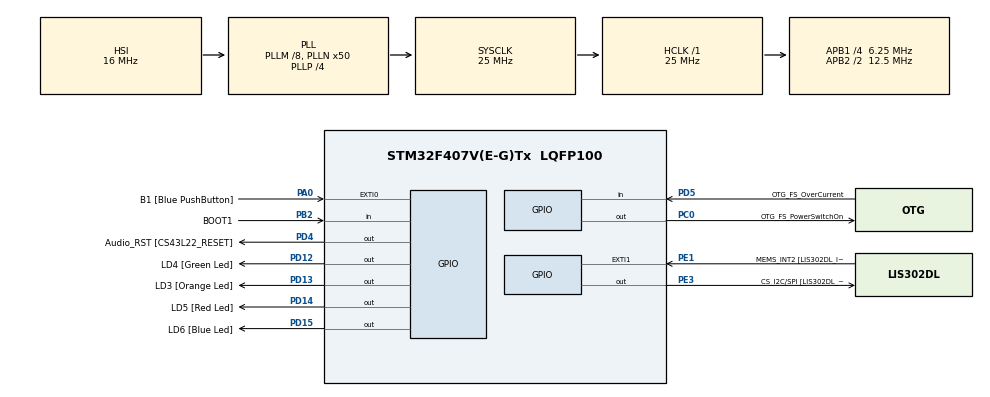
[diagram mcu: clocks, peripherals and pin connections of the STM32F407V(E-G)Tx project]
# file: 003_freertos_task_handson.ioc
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Mcu.Family=STM32F4
Mcu.Name=STM32F407V(E-G)Tx
Mcu.Package=LQFP100
NVIC.PriorityGroup=NVIC_PRIORITYGROUP_4
NVIC.TIM6_DAC_IRQn=true\:0\:0\:false\:false\:true\:false\:true\:true
NVIC.TimeBase=TIM6_DAC_IRQn
NVIC.TimeBaseIP=TIM6
PA0-WKUP.GPIO_Label=B1 [Blue PushButton]
PA0-WKUP.Signal=GPXTI0
PA10.GPIO_Label=OTG_FS_ID
PA10.GPIO_Mode=GPIO_MODE_AF_PP
PA10.GPIO_PuPd=GPIO_NOPULL
PA10.GPIO_Speed=GPIO_SPEED_FREQ_LOW
PA10.Signal=USB_OTG_FS_ID
PA11.GPIO_Label=OTG_FS_DM
PA11.GPIO_Mode=GPIO_MODE_AF_PP
PA11.GPIO_PuPd=GPIO_NOPULL
PA11.GPIO_Speed=GPIO_SPEED_FREQ_LOW
PA11.Signal=USB_OTG_FS_DM
PA12.GPIO_Label=OTG_FS_DP
PA12.GPIO_Mode=GPIO_MODE_AF_PP
PA12.GPIO_PuPd=GPIO_NOPULL
PA12.GPIO_Speed=GPIO_SPEED_FREQ_LOW
PA12.Signal=USB_OTG_FS_DP
PA13.GPIO_Label=SWDIO
PA13.Signal=SYS_JTMS-SWDIO
PA14.GPIO_Label=SWCLK
PA14.Signal=SYS_JTCK-SWCLK
PA4.GPIO_Label=I2S3_WS [CS43L22_LRCK]
PA4.GPIO_Mode=GPIO_MODE_AF_PP
PA4.GPIO_PuPd=GPIO_NOPULL
PA4.GPIO_Speed=GPIO_SPEED_FREQ_LOW
PA4.Signal=I2S3_WS
PA5.GPIO_Label=SPI1_SCK [LIS302DL_SCL/SPC]
PA5.GPIO_Mode=GPIO_MODE_AF_PP
PA5.GPIO_PuPd=GPIO_NOPULL
PA5.GPIO_Speed=GPIO_SPEED_FREQ_LOW
PA5.Signal=SPI1_SCK
PA6.GPIO_Label=SPI1_MISO [LIS302DL_SDO]
PA6.GPIO_Mode=GPIO_MODE_AF_PP
PA6.GPIO_PuPd=GPIO_NOPULL
PA6.GPIO_Speed=GPIO_SPEED_FREQ_LOW
PA6.Signal=SPI1_MISO
PA7.GPIO_Label=SPI1_MOSI [LIS302DL_SDA/SDI/SDO]
PA7.GPIO_Mode=GPIO_MODE_AF_PP
PA7.GPIO_PuPd=GPIO_NOPULL
PA7.GPIO_Speed=GPIO_SPEED_FREQ_LOW
PA7.Signal=SPI1_MOSI
PA9.GPIO_Label=VBUS_FS
PA9.GPIO_Mode=GPIO_MODE_INPUT
PA9.GPIO_PuPd=GPIO_NOPULL
PA9.Signal=USB_OTG_FS_VBUS
PB10.GPIO_Label=CLK_IN [MP45DT02_CLK]
PB10.GPIO_Mode=GPIO_MODE_AF_PP
PB10.GPIO_PuPd=GPIO_NOPULL
PB10.GPIO_Speed=GPIO_SPEED_FREQ_LOW
PB10.Signal=I2S2_CK
PB2.GPIO_Label=BOOT1
PB2.GPIO_Mode=GPIO_MODE_INPUT
PB2.GPIO_PuPd=GPIO_NOPULL
PB2.Signal=GPIO_Input
PB3.GPIO_Label=SWO
PB3.Signal=SYS_JTDO-SWO
PB6.GPIO_Label=Audio_SCL [CS43L22_SCL]
PB6.GPIO_Mode=GPIO_MODE_AF_OD
PB6.GPIO_PuPd=GPIO_NOPULL
PB6.GPIO_Speed=GPIO_SPEED_FREQ_LOW
PB6.Signal=I2C1_SCL
PB9.GPIO_Label=Audio_SDA [CS43L22_SDA]
PB9.GPIO_Mode=GPIO_MODE_AF_OD
PB9.GPIO_PuPd=GPIO_NOPULL
PB9.GPIO_Speed=GPIO_SPEED_FREQ_LOW
PB9.Signal=I2C1_SDA
PC0.GPIO_Label=OTG_FS_PowerSwitchOn
PC0.GPIO_PuPd=GPIO_NOPULL
PC0.GPIO_Speed=GPIO_SPEED_FREQ_LOW
PC0.PinState=GPIO_PIN_SET
PC0.Signal=GPIO_Output
PC10.GPIO_Label=I2S3_SCK [CS43L22_SCLK]
PC10.GPIO_Mode=GPIO_MODE_AF_PP
PC10.GPIO_PuPd=GPIO_NOPULL
PC10.GPIO_Speed=GPIO_SPEED_FREQ_LOW
PC10.Signal=I2S3_CK
PC12.GPIO_Label=I2S3_SD [CS43L22_SDIN]
PC12.GPIO_Mode=GPIO_MODE_AF_PP
PC12.GPIO_PuPd=GPIO_NOPULL
PC12.GPIO_Speed=GPIO_SPEED_FREQ_LOW
PC12.Signal=I2S3_SD
PC14-OSC32_IN.GPIO_Label=PC14-OSC32_IN
PC14-OSC32_IN.Signal=RCC_OSC32_IN
PC15-OSC32_OUT.GPIO_Label=PC15-OSC32_OUT
PC15-OSC32_OUT.Signal=RCC_OSC32_OUT
PC3.GPIO_Label=PDM_OUT [MP45DT02_DOUT]
PC3.GPIO_Mode=GPIO_MODE_AF_PP
PC3.GPIO_PuPd=GPIO_NOPULL
PC3.GPIO_Speed=GPIO_SPEED_FREQ_LOW
PC3.Signal=I2S2_SD
PC7.GPIO_Label=I2S3_MCK [CS43L22_MCLK]
PC7.GPIO_Mode=GPIO_MODE_AF_PP
PC7.GPIO_PuPd=GPIO_NOPULL
PC7.GPIO_Speed=GPIO_SPEED_FREQ_LOW
PC7.Signal=I2S3_MCK
PD12.GPIO_Label=LD4 [Green Led]
PD12.GPIO_PuPd=GPIO_NOPULL
PD12.GPIO_Speed=GPIO_SPEED_FREQ_LOW
PD12.Signal=GPIO_Output
PD13.GPIO_Label=LD3 [Orange Led]
PD13.GPIO_PuPd=GPIO_NOPULL
PD13.GPIO_Speed=GPIO_SPEED_FREQ_LOW
PD13.Signal=GPIO_Output
PD14.GPIO_Label=LD5 [Red Led]
PD14.GPIO_PuPd=GPIO_NOPULL
PD14.GPIO_Speed=GPIO_SPEED_FREQ_LOW
PD14.Signal=GPIO_Output
PD15.GPIO_Label=LD6 [Blue Led]
PD15.GPIO_PuPd=GPIO_NOPULL
PD15.GPIO_Speed=GPIO_SPEED_FREQ_LOW
PD15.Signal=GPIO_Output
PD4.GPIO_Label=Audio_RST [CS43L22_RESET]
PD4.GPIO_PuPd=GPIO_NOPULL
PD4.GPIO_Speed=GPIO_SPEED_FREQ_LOW
PD4.Signal=GPIO_Output
PD5.GPIO_Label=OTG_FS_OverCurrent
PD5.GPIO_Mode=GPIO_MODE_INPUT
PD5.GPIO_PuPd=GPIO_NOPULL
PD5.Signal=GPIO_Input
PE1.GPIO_Label=MEMS_INT2 [LIS302DL_INT2]
PE1.GPIO_ModeDefaultEXTI=GPIO_MODE_EVT_RISING
PE1.GPIO_PuPd=GPIO_NOPULL
PE1.Signal=GPXTI1
PE3.GPIO_Label=CS_I2C/SPI [LIS302DL_CS_I2C/SPI]
PE3.GPIO_PuPd=GPIO_NOPULL
PE3.GPIO_Speed=GPIO_SPEED_FREQ_LOW
PE3.Signal=GPIO_Output
PH0-OSC_IN.GPIO_Label=PH0-OSC_IN
PH0-OSC_IN.Signal=RCC_OSC_IN
PH1-OSC_OUT.GPIO_Label=PH1-OSC_OUT
PH1-OSC_OUT.Signal=RCC_OSC_OUT
ProjectManager.HeapSize=0x200
ProjectManager.StackSize=0x400
ProjectManager.TargetToolchain=STM32CubeIDE
RCC.48MHZClocksFreq_Value=14285714.285714285
RCC.AHBFreq_Value=25000000
RCC.APB1CLKDivider=RCC_HCLK_DIV4
RCC.APB1Freq_Value=6250000
RCC.APB1TimFreq_Value=12500000
RCC.APB2CLKDivider=RCC_HCLK_DIV2
RCC.APB2Freq_Value=12500000
RCC.APB2TimFreq_Value=25000000
RCC.CortexFreq_Value=25000000
RCC.HCLKFreq_Value=25000000
RCC.HSE_VALUE=8000000
RCC.HSI_VALUE=16000000
RCC.LSE_VALUE=32768
RCC.PLLM=8
RCC.PLLN=50
RCC.PLLP=RCC_PLLP_DIV4
RCC.PLLQ=7
RCC.SYSCLKFreq_VALUE=25000000
RCC.SYSCLKSource=RCC_SYSCLKSOURCE_PLLCLK
RCC.VCOOutputFreq_Value=100000000
VP_SYS_VS_tim6.Mode=TIM6
board=STM32F407G-DISC1

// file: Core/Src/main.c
/* USER CODE BEGIN Header */
/**
  ******************************************************************************
  * @file           : main.c
  * @brief          : Main program body
  ******************************************************************************
  * @attention
  *
  * Copyright (c) 2026 STMicroelectronics.
  * All rights reserved.
  *
  * This software is licensed under terms that can be found in the LICENSE file
  * in the root directory of this software component.
  * If no LICENSE file comes with this software, it is provided AS-IS.
  *
  ******************************************************************************
  */
/* USER CODE END Header */
#include "main.h"

/* USER CODE BEGIN Includes */

#include "FreeRTOS.h"
#include "task.h"

/* USER CODE END Includes */

void SystemClock_Config(void);
static void MX_GPIO_Init(void);

/* USER CODE BEGIN PFP */
void GreenTask(void *parameter);
void OrangeTask(void *parameter);
void RedTask(void *parameter);
void BlueTask(void *parameter);

/* USER CODE END PFP */

int main(void)
{

  /* USER CODE BEGIN 1 */

	BaseType_t status;
	TaskHandle_t  greenTaskHandler;
	TaskHandle_t  orangeTaskHandler;
	TaskHandle_t  redTaskHandler;
	TaskHandle_t  blueTaskHandler;

  /* USER CODE END 1 */

  /* MCU Configuration--------------------------------------------------------*/

  /* Reset of all peripherals, Initializes the Flash interface and the Systick. */
  HAL_Init();

  /* Configure the system clock */
  SystemClock_Config();

  /* Initialize all configured peripherals */
  MX_GPIO_Init();
  /* USER CODE BEGIN 2 */
  /*
   *     BaseType_t xTaskCreate( TaskFunction_t pxTaskCode,
                            const char * const pcName,
                            const configSTACK_DEPTH_TYPE uxStackDepth,
                            void * const pvParameters,
                            UBaseType_t uxPriority,
                            TaskHandle_t * const pxCreatedTask ) PRIVILEGED_FUNCTION;
   */

  status = xTaskCreate(GreenTask, "Green Led Task", 512, "Green LED Task", 2, &greenTaskHandler);

  configASSERT(status == pdPASS);

  status = xTaskCreate(OrangeTask, "Orange Led Task", 512, "Orange Led Task", 2, &orangeTaskHandler);

  configASSERT(status == pdPASS);

  status = xTaskCreate(RedTask, "Red Led Task", 512, "Red Led Task", 2, &redTaskHandler);

  configASSERT(status == pdPASS);

  status = xTaskCreate(BlueTask, "Blue Led Task", 512, "Blue Led Task", 2, &blueTaskHandler);

  configASSERT(status == pdPASS);

  vTaskStartScheduler();

  /* USER CODE END 2 */

  /* Infinite loop */
  while (1)
  {

  }
}

void SystemClock_Config(void)
{
  RCC_OscInitTypeDef RCC_OscInitStruct = {0};
  RCC_ClkInitTypeDef RCC_ClkInitStruct = {0};

  /** Configure the main internal regulator output voltage
  */
  __HAL_RCC_PWR_CLK_ENABLE();
  __HAL_PWR_VOLTAGESCALING_CONFIG(PWR_REGULATOR_VOLTAGE_SCALE1);

  /** Initializes the RCC Oscillators according to the specified parameters
  * in the RCC_OscInitTypeDef structure.
  */
  RCC_OscInitStruct.OscillatorType = RCC_OSCILLATORTYPE_HSI;
  RCC_OscInitStruct.HSIState = RCC_HSI_ON;
  RCC_OscInitStruct.HSICalibrationValue = RCC_HSICALIBRATION_DEFAULT;
  RCC_OscInitStruct.PLL.PLLState = RCC_PLL_ON;
  RCC_OscInitStruct.PLL.PLLSource = RCC_PLLSOURCE_HSI;
  RCC_OscInitStruct.PLL.PLLM = 8;
  RCC_OscInitStruct.PLL.PLLN = 50;
  RCC_OscInitStruct.PLL.PLLP = RCC_PLLP_DIV4;
  RCC_OscInitStruct.PLL.PLLQ = 7;
  if (HAL_RCC_OscConfig(&RCC_OscInitStruct) != HAL_OK)
  {
    Error_Handler();
  }

  /** Initializes the CPU, AHB and APB buses clocks
  */
  RCC_ClkInitStruct.ClockType = RCC_CLOCKTYPE_HCLK|RCC_CLOCKTYPE_SYSCLK
                              |RCC_CLOCKTYPE_PCLK1|RCC_CLOCKTYPE_PCLK2;
  RCC_ClkInitStruct.SYSCLKSource = RCC_SYSCLKSOURCE_PLLCLK;
  RCC_ClkInitStruct.AHBCLKDivider = RCC_SYSCLK_DIV1;
  RCC_ClkInitStruct.APB1CLKDivider = RCC_HCLK_DIV4;
  RCC_ClkInitStruct.APB2CLKDivider = RCC_HCLK_DIV2;

  if (HAL_RCC_ClockConfig(&RCC_ClkInitStruct, FLASH_LATENCY_0) != HAL_OK)
  {
    Error_Handler();
  }
}

static void MX_GPIO_Init(void)
{
  GPIO_InitTypeDef GPIO_InitStruct = {0};

  /* GPIO Ports Clock Enable */
  __HAL_RCC_GPIOE_CLK_ENABLE();
  __HAL_RCC_GPIOC_CLK_ENABLE();
  __HAL_RCC_GPIOH_CLK_ENABLE();
  __HAL_RCC_GPIOA_CLK_ENABLE();
  __HAL_RCC_GPIOB_CLK_ENABLE();
  __HAL_RCC_GPIOD_CLK_ENABLE();

  /*Configure GPIO pin Output Level */
  HAL_GPIO_WritePin(CS_I2C_SPI_GPIO_Port, CS_I2C_SPI_Pin, GPIO_PIN_RESET);

  /*Configure GPIO pin Output Level */
  HAL_GPIO_WritePin(OTG_FS_PowerSwitchOn_GPIO_Port, OTG_FS_PowerSwitchOn_Pin, GPIO_PIN_SET);

  /*Configure GPIO pin Output Level */
  HAL_GPIO_WritePin(GPIOD, LD4_Pin|LD3_Pin|LD5_Pin|LD6_Pin
                          |Audio_RST_Pin, GPIO_PIN_RESET);

  /*Configure GPIO pin : CS_I2C_SPI_Pin */
  GPIO_InitStruct.Pin = CS_I2C_SPI_Pin;
  GPIO_InitStruct.Mode = GPIO_MODE_OUTPUT_PP;
  GPIO_InitStruct.Pull = GPIO_NOPULL;
  GPIO_InitStruct.Speed = GPIO_SPEED_FREQ_LOW;
  HAL_GPIO_Init(CS_I2C_SPI_GPIO_Port, &GPIO_InitStruct);

  /*Configure GPIO pin : OTG_FS_PowerSwitchOn_Pin */
  GPIO_InitStruct.Pin = OTG_FS_PowerSwitchOn_Pin;
  GPIO_InitStruct.Mode = GPIO_MODE_OUTPUT_PP;
  GPIO_InitStruct.Pull = GPIO_NOPULL;
  GPIO_InitStruct.Speed = GPIO_SPEED_FREQ_LOW;
  HAL_GPIO_Init(OTG_FS_PowerSwitchOn_GPIO_Port, &GPIO_InitStruct);

  /*Configure GPIO pin : PDM_OUT_Pin */
  GPIO_InitStruct.Pin = PDM_OUT_Pin;
  GPIO_InitStruct.Mode = GPIO_MODE_AF_PP;
  GPIO_InitStruct.Pull = GPIO_NOPULL;
  GPIO_InitStruct.Speed = GPIO_SPEED_FREQ_LOW;
  GPIO_InitStruct.Alternate = GPIO_AF5_SPI2;
  HAL_GPIO_Init(PDM_OUT_GPIO_Port, &GPIO_InitStruct);

  /*Configure GPIO pin : B1_Pin */
  GPIO_InitStruct.Pin = B1_Pin;
  GPIO_InitStruct.Mode = GPIO_MODE_IT_RISING;
  GPIO_InitStruct.Pull = GPIO_NOPULL;
  HAL_GPIO_Init(B1_GPIO_Port, &GPIO_InitStruct);

  /*Configure GPIO pin : I2S3_WS_Pin */
  GPIO_InitStruct.Pin = I2S3_WS_Pin;
  GPIO_InitStruct.Mode = GPIO_MODE_AF_PP;
  GPIO_InitStruct.Pull = GPIO_NOPULL;
  GPIO_InitStruct.Speed = GPIO_SPEED_FREQ_LOW;
  GPIO_InitStruct.Alternate = GPIO_AF6_SPI3;
  HAL_GPIO_Init(I2S3_WS_GPIO_Port, &GPIO_InitStruct);

  /*Configure GPIO pins : SPI1_SCK_Pin SPI1_MISO_Pin SPI1_MOSI_Pin */
  GPIO_InitStruct.Pin = SPI1_SCK_Pin|SPI1_MISO_Pin|SPI1_MOSI_Pin;
  GPIO_InitStruct.Mode = GPIO_MODE_AF_PP;
  GPIO_InitStruct.Pull = GPIO_NOPULL;
  GPIO_InitStruct.Speed = GPIO_SPEED_FREQ_LOW;
  GPIO_InitStruct.Alternate = GPIO_AF5_SPI1;
  HAL_GPIO_Init(GPIOA, &GPIO_InitStruct);

  /*Configure GPIO pin : BOOT1_Pin */
  GPIO_InitStruct.Pin = BOOT1_Pin;
  GPIO_InitStruct.Mode = GPIO_MODE_INPUT;
  GPIO_InitStruct.Pull = GPIO_NOPULL;
  HAL_GPIO_Init(BOOT1_GPIO_Port, &GPIO_InitStruct);

  /*Configure GPIO pin : CLK_IN_Pin */
  GPIO_InitStruct.Pin = CLK_IN_Pin;
  GPIO_InitStruct.Mode = GPIO_MODE_AF_PP;
  GPIO_InitStruct.Pull = GPIO_NOPULL;
  GPIO_InitStruct.Speed = GPIO_SPEED_FREQ_LOW;
  GPIO_InitStruct.Alternate = GPIO_AF5_SPI2;
  HAL_GPIO_Init(CLK_IN_GPIO_Port, &GPIO_InitStruct);

  /*Configure GPIO pins : LD4_Pin LD3_Pin LD5_Pin LD6_Pin
                           Audio_RST_Pin */
  GPIO_InitStruct.Pin = LD4_Pin|LD3_Pin|LD5_Pin|LD6_Pin
                          |Audio_RST_Pin;
  GPIO_InitStruct.Mode = GPIO_MODE_OUTPUT_PP;
  GPIO_InitStruct.Pull = GPIO_NOPULL;
  GPIO_InitStruct.Speed = GPIO_SPEED_FREQ_LOW;
  HAL_GPIO_Init(GPIOD, &GPIO_InitStruct);

  /*Configure GPIO pins : I2S3_MCK_Pin I2S3_SCK_Pin I2S3_SD_Pin */
  GPIO_InitStruct.Pin = I2S3_MCK_Pin|I2S3_SCK_Pin|I2S3_SD_Pin;
  GPIO_InitStruct.Mode = GPIO_MODE_AF_PP;
  GPIO_InitStruct.Pull = GPIO_NOPULL;
  GPIO_InitStruct.Speed = GPIO_SPEED_FREQ_LOW;
  GPIO_InitStruct.Alternate = GPIO_AF6_SPI3;
  HAL_GPIO_Init(GPIOC, &GPIO_InitStruct);

  /*Configure GPIO pin : VBUS_FS_Pin */
  GPIO_InitStruct.Pin = VBUS_FS_Pin;
  GPIO_InitStruct.Mode = GPIO_MODE_INPUT;
  GPIO_InitStruct.Pull = GPIO_NOPULL;
  HAL_GPIO_Init(VBUS_FS_GPIO_Port, &GPIO_InitStruct);

  /*Configure GPIO pins : OTG_FS_ID_Pin OTG_FS_DM_Pin OTG_FS_DP_Pin */
  GPIO_InitStruct.Pin = OTG_FS_ID_Pin|OTG_FS_DM_Pin|OTG_FS_DP_Pin;
  GPIO_InitStruct.Mode = GPIO_MODE_AF_PP;
  GPIO_InitStruct.Pull = GPIO_NOPULL;
  GPIO_InitStruct.Speed = GPIO_SPEED_FREQ_LOW;
  GPIO_InitStruct.Alternate = GPIO_AF10_OTG_FS;
  HAL_GPIO_Init(GPIOA, &GPIO_InitStruct);

  /*Configure GPIO pin : OTG_FS_OverCurrent_Pin */
  GPIO_InitStruct.Pin = OTG_FS_OverCurrent_Pin;
  GPIO_InitStruct.Mode = GPIO_MODE_INPUT;
  GPIO_InitStruct.Pull = GPIO_NOPULL;
  HAL_GPIO_Init(OTG_FS_OverCurrent_GPIO_Port, &GPIO_InitStruct);

  /*Configure GPIO pins : Audio_SCL_Pin Audio_SDA_Pin */
  GPIO_InitStruct.Pin = Audio_SCL_Pin|Audio_SDA_Pin;
  GPIO_InitStruct.Mode = GPIO_MODE_AF_OD;
  GPIO_InitStruct.Pull = GPIO_NOPULL;
  GPIO_InitStruct.Speed = GPIO_SPEED_FREQ_LOW;
  GPIO_InitStruct.Alternate = GPIO_AF4_I2C1;
  HAL_GPIO_Init(GPIOB, &GPIO_InitStruct);

  /*Configure GPIO pin : MEMS_INT2_Pin */
  GPIO_InitStruct.Pin = MEMS_INT2_Pin;
  GPIO_InitStruct.Mode = GPIO_MODE_EVT_RISING;
  GPIO_InitStruct.Pull = GPIO_NOPULL;
  HAL_GPIO_Init(MEMS_INT2_GPIO_Port, &GPIO_InitStruct);

}

/* USER CODE BEGIN 4 */

void GreenTask(void *parameter){

	while(1){
		//Toggle GreenLight at 500ms
		HAL_GPIO_TogglePin(GPIOD, GPIO_PIN_12);
		vTaskDelay(pdMS_TO_TICKS(100));
	}
}

void OrangeTask(void *parameter){

	while(1){
		HAL_GPIO_TogglePin(GPIOD, GPIO_PIN_13);
		vTaskDelay(pdMS_TO_TICKS(200));
	}
}

void RedTask(void *parameter){

	while(1){
		HAL_GPIO_TogglePin(GPIOD, GPIO_PIN_14);
		vTaskDelay(pdMS_TO_TICKS(300));
	}
}

void BlueTask(void *parameter){

	while(1){
		HAL_GPIO_TogglePin(GPIOD, GPIO_PIN_15);
		vTaskDelay(pdMS_TO_TICKS(400));
	}
}

/* USER CODE END 4 */

void HAL_TIM_PeriodElapsedCallback(TIM_HandleTypeDef *htim)
{
  if (htim->Instance == TIM6)
  {
    HAL_IncTick();
  }
}

void Error_Handler(void)
{
  __disable_irq();
  while (1)
  {
  }
}
